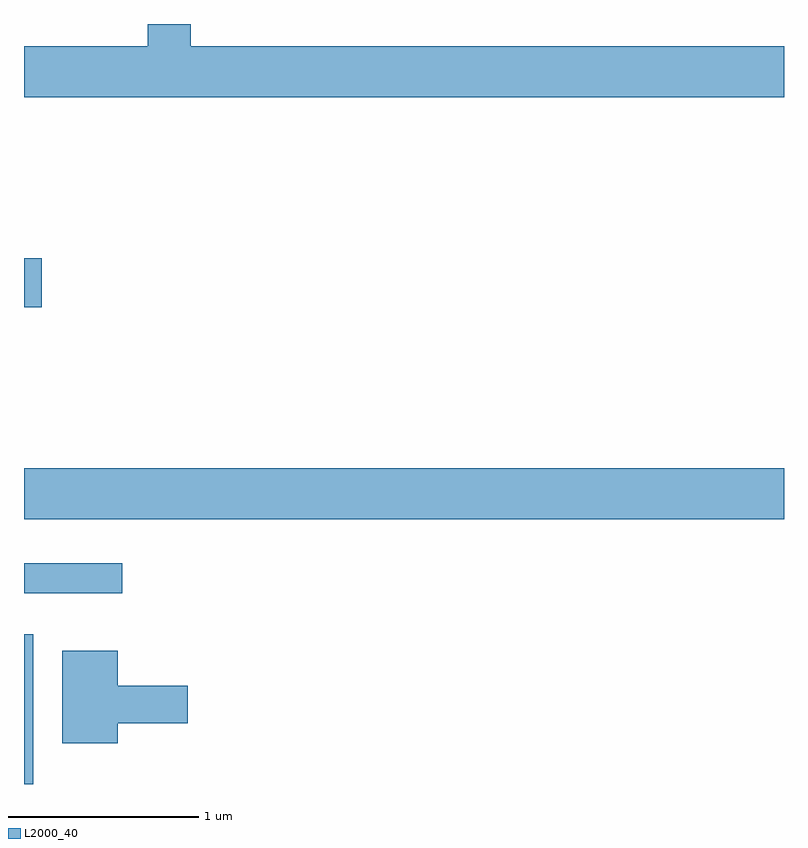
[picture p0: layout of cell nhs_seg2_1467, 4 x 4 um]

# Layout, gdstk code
import gdstk
lib = gdstk.Library(unit=1e-6, precision=1e-09)
def R(c, l, rs):  # rectangles x0, y0, x1, y1
    for r in rs: c.add(gdstk.rectangle(r[:2], r[2:], *l))
def P(c, l, *ps):  # polygons
    for p in ps: c.add(gdstk.Polygon(p, *l))
L2000_40 = (2000, 40)

nhs_seg2_1467 = lib.new_cell('nhs_seg2_1467')
R(nhs_seg2_1467, L2000_40, [(227.611,1055.802,227.659,1056.589), (227.611,1056.806,228.128,1056.964), (227.611,1057.196,231.611,1057.464), (227.611,1058.311,227.704,1058.569)])
P(nhs_seg2_1467, L2000_40, [(231.611,1059.684),(228.489,1059.684),(228.489,1059.802),(228.261,1059.802),(228.261,1059.684),(227.611,1059.684),(227.611,1059.416),(231.611,1059.416)],
  [(228.104,1056.121),(228.474,1056.121),(228.474,1056.319),(228.104,1056.319),(228.104,1056.504),(227.811,1056.504),(227.811,1056.016),(228.104,1056.016)])

lib.write_gds('nhs_seg2_1467.gds')
